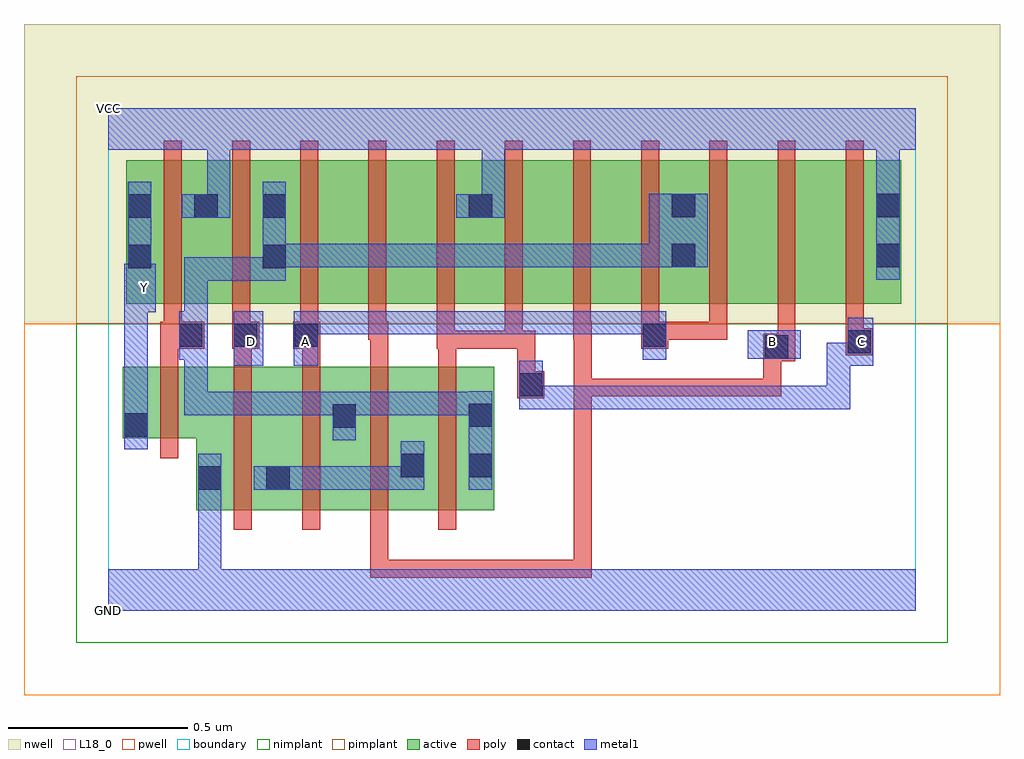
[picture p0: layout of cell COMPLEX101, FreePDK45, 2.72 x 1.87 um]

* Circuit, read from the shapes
.subckt COMPLEX101 A B C D GND VCC Y
M1 GND n1 Y VSUBS nfet w=0.2u l=0.05u
M2 n2 D GND VSUBS nfet w=0.4u l=0.05u
M3 n1 A n2 VSUBS nfet w=0.4u l=0.05u
M4 n2 B n1 VSUBS nfet w=0.4u l=0.05u
M5 n1 C n2 VSUBS nfet w=0.4u l=0.05u
M6 VCC n1 Y n3 pfet w=0.4u l=0.05u
M7 n1 D VCC n3 pfet w=0.4u l=0.05u
M8 n4 A n1 n3 pfet w=0.4u l=0.05u
M9 n5 B n4 n3 pfet w=0.4u l=0.05u
M10 VCC C n5 n3 pfet w=0.4u l=0.05u
M11 n6 C VCC n3 pfet w=0.4u l=0.05u
M12 n7 B n6 n3 pfet w=0.4u l=0.05u
M13 n1 A n7 n3 pfet w=0.4u l=0.05u
M14 n8 A n1 n3 pfet w=0.4u l=0.05u
M15 n9 B n8 n3 pfet w=0.4u l=0.05u
M16 VCC C n9 n3 pfet w=0.4u l=0.05u
.ends

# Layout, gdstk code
import gdstk
lib = gdstk.Library(unit=1e-6, precision=1e-09)
def R(c, l, rs):  # rectangles x0, y0, x1, y1
    for r in rs: c.add(gdstk.rectangle(r[:2], r[2:], *l))
def A(c, l, x, y, w, h, nx, ny, dx, dy):  # array of equal rectangles
    R(c, l, [(x+i*dx, y+j*dy, x+i*dx+w, y+j*dy+h) for i in range(nx) for j in range(ny)])
active = (1, 0)
pwell = (2, 0)
nwell = (3, 0)
nimplant = (4, 0)
pimplant = (5, 0)
poly = (9, 0)
contact = (10, 0)
metal1 = (11, 0)
L18_0 = (18, 0)
boundary = (235, 0)

complex101 = lib.new_cell('COMPLEX101')
A(complex101, active, 0.655, 0.855, 0.19, 0.4, 3, 1, 0.57, 0)
R(complex101, active, [(0.245,0.28,0.51,0.68), (0.435,0.28,0.695,0.68), (0.62,0.28,0.885,0.68), (0.81,0.28,1.075,0.68), (0.81,0.28,0.885,0.537), (1,0.28,1.075,0.68), (0.245,0.332,0.32,0.597), (0.435,0.332,0.51,0.597), (0.62,0.345,0.695,0.625), (0.04,0.48,0.32,0.68), (0.04,0.48,0.115,0.68), (0.05,0.855,0.31,1.255), (0.05,0.855,0.125,1.2), (0.235,0.855,0.5,1.255), (0.425,0.855,0.655,1.255), (0.845,0.855,1.075,1.255), (1,0.855,1.225,1.255), (1.415,0.855,1.64,1.255), (1.565,0.855,1.795,1.255), (1.565,0.855,1.64,1.2), (1.985,0.855,2.21,1.255), (2.135,0.855,2.21,1.255), (0.235,0.907,0.31,1.255), (0.425,0.907,0.5,1.2), (1,0.907,1.075,1.255)])
R(complex101, pwell, [(-0.235,-0.235,2.485,0.8)])
R(complex101, nwell, [(-0.235,0.8,2.485,1.635)])
R(complex101, nimplant, [(-0.09,-0.09,2.34,0.8)])
R(complex101, pimplant, [(-0.09,0.8,2.34,1.49)])
A(complex101, poly, 0.35, 0.225, 0.05, 0.51, 4, 1, 0.19, 0)
A(complex101, poly, 0.155, 0.755, 0.05, 0.095, 4, 1, 0.19, 0)
A(complex101, poly, 1.295, 0.755, 0.05, 0.095, 3, 1, 0.19, 0)
A(complex101, poly, 0.155, 0.8, 0.05, 0.51, 11, 1, 0.19, 0)
R(complex101, poly, [(0.73,0.092,0.78,0.142), (0.73,0.092,0.78,0.142), (0.73,0.092,0.78,0.142), (0.73,0.092,0.912,0.142), (0.73,0.092,0.78,0.275), (0.862,0.092,0.912,0.142), (0.862,0.092,0.912,0.142), (0.862,0.092,0.912,0.142), (0.862,0.092,1.212,0.142), (1.162,0.092,1.212,0.142), (1.162,0.092,1.212,0.142), (1.162,0.092,1.212,0.142), (1.162,0.092,1.212,0.142), (1.162,0.092,1.212,0.142), (1.162,0.092,1.347,0.142), (1.297,0.092,1.347,0.142), (1.297,0.092,1.347,0.142), (1.297,0.092,1.347,0.142), (1.297,0.092,1.347,0.647), (0.145,0.425,0.195,0.735), (1.14,0.592,1.215,0.667), (1.297,0.597,1.347,0.647), (1.297,0.597,1.592,0.647), (1.297,0.597,1.347,0.805), (1.542,0.597,1.592,0.647), (1.542,0.597,1.592,0.647), (1.542,0.597,1.592,0.647), (1.542,0.597,1.742,0.647), (1.692,0.597,1.742,0.647), (1.692,0.597,1.742,0.647), (1.692,0.597,1.742,0.647), (1.692,0.597,1.875,0.647), (1.825,0.597,1.875,0.647), (1.825,0.597,1.875,0.647), (1.825,0.597,1.875,0.647), (1.825,0.597,1.875,0.745), (1.14,0.617,1.19,0.78), (0.145,0.685,0.195,0.78), (0.35,0.685,0.4,0.78), (0.54,0.685,0.59,0.78), (0.73,0.685,0.78,0.805), (0.92,0.685,0.97,0.78), (1.825,0.695,1.875,0.745), (1.825,0.695,1.875,0.745), (1.825,0.695,1.915,0.772), (2.055,0.712,2.13,0.787), (1.865,0.722,1.915,0.85), (0.145,0.73,0.267,0.805), (0.345,0.73,0.42,0.805), (0.515,0.73,0.59,0.805), (0.915,0.73,0.965,0.85), (0.915,0.73,0.97,0.78), (0.92,0.73,0.97,0.78), (0.92,0.73,0.97,0.78), (0.92,0.73,1.155,0.78), (1.105,0.73,1.155,0.78), (1.105,0.73,1.155,0.78), (1.105,0.73,1.155,0.85), (1.105,0.73,1.19,0.78), (1.485,0.73,1.56,0.805), (2.055,0.737,2.105,0.85), (0.725,0.755,0.78,0.805), (1.295,0.755,1.347,0.805), (1.297,0.755,1.347,0.805), (1.297,0.755,1.347,0.805), (1.51,0.755,1.725,0.805), (1.675,0.755,1.725,0.805), (1.675,0.755,1.725,0.805), (1.675,0.755,1.725,0.805)])
R(complex101, contact, [(0.25,0.337,0.315,0.402), (0.44,0.337,0.505,0.402), (0.815,0.372,0.88,0.437), (1.005,0.372,1.07,0.437), (0.045,0.485,0.11,0.55), (0.625,0.51,0.69,0.575), (1.005,0.512,1.07,0.577), (1.145,0.597,1.21,0.662), (1.83,0.702,1.895,0.767), (2.06,0.717,2.125,0.782), (0.197,0.735,0.262,0.8), (0.35,0.735,0.415,0.8), (0.52,0.735,0.585,0.8), (1.49,0.735,1.555,0.8), (0.055,0.955,0.12,1.02), (0.43,0.955,0.495,1.02), (1.57,0.957,1.635,1.022), (2.14,0.957,2.205,1.022), (0.055,1.095,0.12,1.16), (0.24,1.095,0.305,1.16), (0.43,1.095,0.495,1.16), (1.005,1.095,1.07,1.16), (1.57,1.097,1.635,1.162), (2.14,1.097,2.205,1.162)])
R(complex101, metal1, [(0,0,2.25,0.115), (0.25,0.05,0.315,0.115), (0.25,0.05,0.315,0.115), (0.25,0.05,0.315,0.115), (0.25,0.05,0.315,0.115), (0.25,0.05,0.315,0.367), (0.25,0.302,0.315,0.437), (0.405,0.337,0.54,0.402), (0.475,0.337,0.677,0.402), (0.612,0.337,0.677,0.402), (0.612,0.337,0.677,0.402), (0.612,0.337,0.677,0.402), (0.612,0.337,0.88,0.402), (0.815,0.337,0.88,0.402), (0.815,0.337,0.88,0.402), (0.815,0.337,0.88,0.472), (1.005,0.337,1.07,0.612), (0.045,0.45,0.11,0.585), (0.625,0.475,0.69,0.61), (0.045,0.52,0.11,0.897), (0.212,0.545,0.277,0.61), (0.212,0.545,0.415,0.61), (0.212,0.545,0.277,0.835), (0.35,0.545,0.415,0.61), (0.35,0.545,0.415,0.61), (0.35,0.545,0.415,0.61), (0.35,0.545,0.69,0.61), (0.625,0.545,0.69,0.61), (0.625,0.545,0.69,0.61), (0.625,0.545,0.897,0.61), (0.832,0.545,0.897,0.61), (0.832,0.545,0.897,0.61), (0.832,0.545,0.897,0.61), (0.832,0.545,1.07,0.61), (1.005,0.545,1.07,0.61), (1.005,0.545,1.07,0.61), (1.145,0.562,1.21,0.697), (1.145,0.562,1.28,0.627), (1.215,0.562,1.28,0.627), (1.215,0.562,1.28,0.627), (1.215,0.562,1.28,0.627), (1.215,0.562,1.417,0.627), (1.352,0.562,1.417,0.627), (1.352,0.562,1.417,0.627), (1.352,0.562,1.417,0.627), (1.352,0.562,1.572,0.627), (1.507,0.562,1.572,0.627), (1.507,0.562,1.572,0.627), (1.507,0.562,1.572,0.627), (1.507,0.562,1.71,0.627), (1.645,0.562,1.71,0.627), (1.645,0.562,1.847,0.627), (1.782,0.562,1.847,0.627), (1.782,0.562,1.847,0.627), (1.782,0.562,1.847,0.627), (1.782,0.562,2.067,0.627), (2.002,0.562,2.067,0.747), (2.002,0.562,2.067,0.627), (0.35,0.682,0.432,0.835), (0.517,0.682,0.585,0.835), (2.002,0.682,2.125,0.747), (2.002,0.682,2.067,0.747), (2.06,0.682,2.132,0.817), (0.197,0.7,0.262,0.835), (1.49,0.7,1.555,0.835), (1.782,0.702,1.93,0.782), (0.197,0.77,0.277,0.835), (0.212,0.77,0.277,0.835), (0.212,0.77,0.277,0.985), (0.52,0.77,0.742,0.835), (0.677,0.77,0.742,0.835), (0.677,0.77,0.897,0.835), (0.832,0.77,0.897,0.835), (0.832,0.77,0.897,0.835), (0.832,0.77,0.897,0.835), (0.832,0.77,1.035,0.835), (0.97,0.77,1.035,0.835), (0.97,0.77,1.035,0.835), (0.97,0.77,1.035,0.835), (0.97,0.77,1.28,0.835), (1.215,0.77,1.28,0.835), (1.215,0.77,1.28,0.835), (1.215,0.77,1.28,0.835), (1.215,0.77,1.417,0.835), (1.352,0.77,1.417,0.835), (1.352,0.77,1.417,0.835), (1.352,0.77,1.417,0.835), (1.352,0.77,1.555,0.835), (0.045,0.832,0.132,0.967), (0.055,0.902,0.12,0.985), (0.055,0.92,0.12,1.195), (0.212,0.92,0.277,0.985), (0.212,0.92,0.4,0.985), (0.335,0.92,0.4,0.985), (0.335,0.92,0.495,0.985), (0.43,0.92,0.495,1.195), (2.14,0.922,2.205,1.197), (0.43,0.957,0.742,1.022), (0.677,0.957,0.742,1.022), (0.677,0.957,0.742,1.022), (0.677,0.957,0.742,1.022), (0.677,0.957,0.897,1.022), (0.832,0.957,0.897,1.022), (0.832,0.957,0.897,1.022), (0.832,0.957,0.897,1.022), (0.832,0.957,1.035,1.022), (0.97,0.957,1.035,1.022), (0.97,0.957,1.035,1.022), (0.97,0.957,1.035,1.022), (0.97,0.957,1.207,1.022), (1.142,0.957,1.207,1.022), (1.142,0.957,1.207,1.022), (1.142,0.957,1.207,1.022), (1.142,0.957,1.417,1.022), (1.352,0.957,1.417,1.022), (1.352,0.957,1.417,1.022), (1.352,0.957,1.417,1.022), (1.352,0.957,1.572,1.022), (1.507,0.957,1.572,1.022), (1.507,0.957,1.572,1.022), (1.507,0.957,1.67,1.162), (0.205,1.095,0.34,1.16), (0.275,1.095,0.34,1.35), (0.97,1.095,1.105,1.16), (1.04,1.095,1.105,1.35), (2.14,1.132,2.205,1.35), (0,1.285,2.25,1.4)])
R(complex101, L18_0, [(0,0,2.25,0.115), (0.25,0.05,0.315,0.115), (0.25,0.05,0.315,0.115), (0.25,0.05,0.315,0.115), (0.25,0.05,0.315,0.115), (0.25,0.05,0.315,0.367), (0.25,0.302,0.315,0.437), (0.045,0.45,0.11,0.585), (0.045,0.52,0.11,0.897), (1.145,0.562,1.21,0.697), (1.145,0.562,1.28,0.627), (1.215,0.562,1.28,0.627), (1.215,0.562,1.28,0.627), (1.215,0.562,1.28,0.627), (1.215,0.562,1.417,0.627), (1.352,0.562,1.417,0.627), (1.352,0.562,1.417,0.627), (1.352,0.562,1.417,0.627), (1.352,0.562,1.572,0.627), (1.507,0.562,1.572,0.627), (1.507,0.562,1.572,0.627), (1.507,0.562,1.572,0.627), (1.507,0.562,1.71,0.627), (1.645,0.562,1.71,0.627), (1.645,0.562,1.847,0.627), (1.782,0.562,1.847,0.627), (1.782,0.562,1.847,0.627), (1.782,0.562,1.847,0.627), (1.782,0.562,2.067,0.627), (2.002,0.562,2.067,0.627), (2.002,0.562,2.067,0.747), (0.35,0.682,0.432,0.835), (0.517,0.682,0.585,0.835), (2.002,0.682,2.067,0.747), (2.002,0.682,2.125,0.747), (2.06,0.682,2.132,0.817), (1.49,0.7,1.555,0.835), (1.782,0.702,1.93,0.782), (0.367,0.717,0.432,0.782), (0.517,0.717,0.582,0.782), (1.817,0.717,1.882,0.782), (2.067,0.717,2.132,0.782), (0.52,0.77,0.742,0.835), (0.677,0.77,0.742,0.835), (0.677,0.77,0.897,0.835), (0.832,0.77,0.897,0.835), (0.832,0.77,0.897,0.835), (0.832,0.77,0.897,0.835), (0.832,0.77,1.035,0.835), (0.97,0.77,1.035,0.835), (0.97,0.77,1.035,0.835), (0.97,0.77,1.035,0.835), (0.97,0.77,1.28,0.835), (1.215,0.77,1.28,0.835), (1.215,0.77,1.28,0.835), (1.215,0.77,1.28,0.835), (1.215,0.77,1.417,0.835), (1.352,0.77,1.417,0.835), (1.352,0.77,1.417,0.835), (1.352,0.77,1.417,0.835), (1.352,0.77,1.555,0.835), (0.045,0.832,0.132,0.967), (0.067,0.867,0.132,0.932), (0.055,0.902,0.12,0.985), (0.055,0.92,0.12,1.195), (2.14,0.922,2.205,1.197), (0.205,1.095,0.34,1.16), (0.275,1.095,0.34,1.35), (0.97,1.095,1.105,1.16), (1.04,1.095,1.105,1.35), (2.14,1.132,2.205,1.35), (0,1.285,2.25,1.4)])
R(complex101, boundary, [(0,0,2.25,1.4)])
complex101.add(gdstk.Label('A', (0.55,0.75), layer=11, texttype=0))
complex101.add(gdstk.Label('B', (1.85,0.75), layer=11, texttype=0))
complex101.add(gdstk.Label('C', (2.1,0.75), layer=11, texttype=0))
complex101.add(gdstk.Label('D', (0.4,0.75), layer=11, texttype=0))
complex101.add(gdstk.Label('Y', (0.1,0.9), layer=11, texttype=0))
complex101.add(gdstk.Label('VCC', (0,1.4), layer=11, texttype=0))
complex101.add(gdstk.Label('GND', (0,0), layer=11, texttype=0))

lib.write_gds('COMPLEX101.gds')
